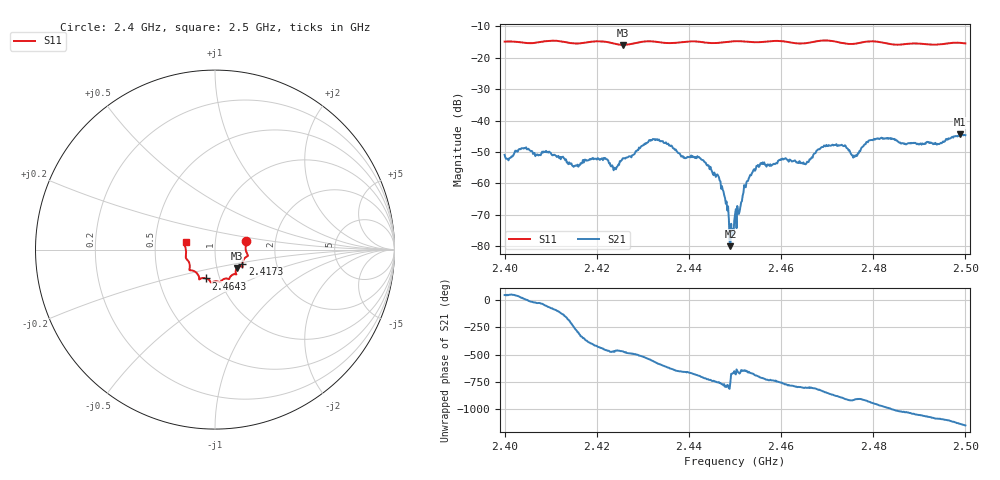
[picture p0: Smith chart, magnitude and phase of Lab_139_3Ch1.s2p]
# Hz S RI R 50
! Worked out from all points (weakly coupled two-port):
!   601 points, 2.4 GHz to 2.5 GHz, reference 50 ohm
!   highest |S21| = -44.40 dB at 2.4988 GHz (marker M1); lowest = -80.0 dB at 2.449 GHz (marker M2)
!   lowest |S11| = -15.9 dB at 2.4257 GHz (marker M3), VSWR 1.38, Z = 62.5 - j13.1 ohm
!   |S11| at or under -10 dB: start of sweep to end of sweep
!   S12 and S22 are empty: the file has one direction only
!   S11 on the Smith chart (normalised r, x): 2.4 GHz: 1.41, +0.14; 2.4173 GHz: 1.34, -0.23; 2.4643 GHz: 0.86, -0.28; 2.5 GHz: 0.72, +0.06
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2.4e9  0.1737 0.0496  0.00207 0.00195  0 0  0 0
2.404167e9  0.1718 0.0231  0.00353 0.000595  0 0  0 0
2.416667e9  0.1531 -0.0746  0.00187 0.000897  0 0  0 0
2.417333e9  0.1524 -0.0819  0.00237 0.000142  0 0  0 0
2.424e9  0.1367 -0.0945  -0.000476 -0.00164  0 0  0 0
2.425667e9  0.1229 -0.1024  -0.000864 -0.00236  0 0  0 0
2.433333e9  0.1129 -0.1369  -0.0035 0.00336  0 0  0 0
2.446e9  0.0477 -0.1647  0.00115 -0.000722  0 0  0 0
2.448e9  0.0353 -0.1738  0.000194 -0.000433  0 0  0 0
2.449e9  0.032 -0.1779  8.75e-05 -4.86e-05  0 0  0 0
2.45e9  0.0292 -0.1809  0.000207 0.000234  0 0  0 0
2.4525e9  0.0204 -0.1786  0.000416 0.000966  0 0  0 0
2.455167e9  0.000467 -0.1768  0.00171 0.000633  0 0  0 0
2.464333e9  -0.0498 -0.1606  0.000444 -0.00204  0 0  0 0
2.466667e9  -0.0759 -0.1597  0.000282 -0.00259  0 0  0 0
2.4715e9  -0.0874 -0.1603  -0.00357 -0.00194  0 0  0 0
2.476e9  -0.1162 -0.1197  -0.00263 0.000405  0 0  0 0
2.479e9  -0.1408 -0.115  -0.00422 0.00229  0 0  0 0
2.483333e9  -0.1404 -0.0898  -0.000336 0.0051  0 0  0 0
2.493833e9  -0.1618 -0.00387  0.00412 -0.000292  0 0  0 0
2.498833e9  -0.1687 0.036  0.00377 -0.0047  0 0  0 0
2.5e9  -0.1635 0.0422  0.00237 -0.00534  0 0  0 0
